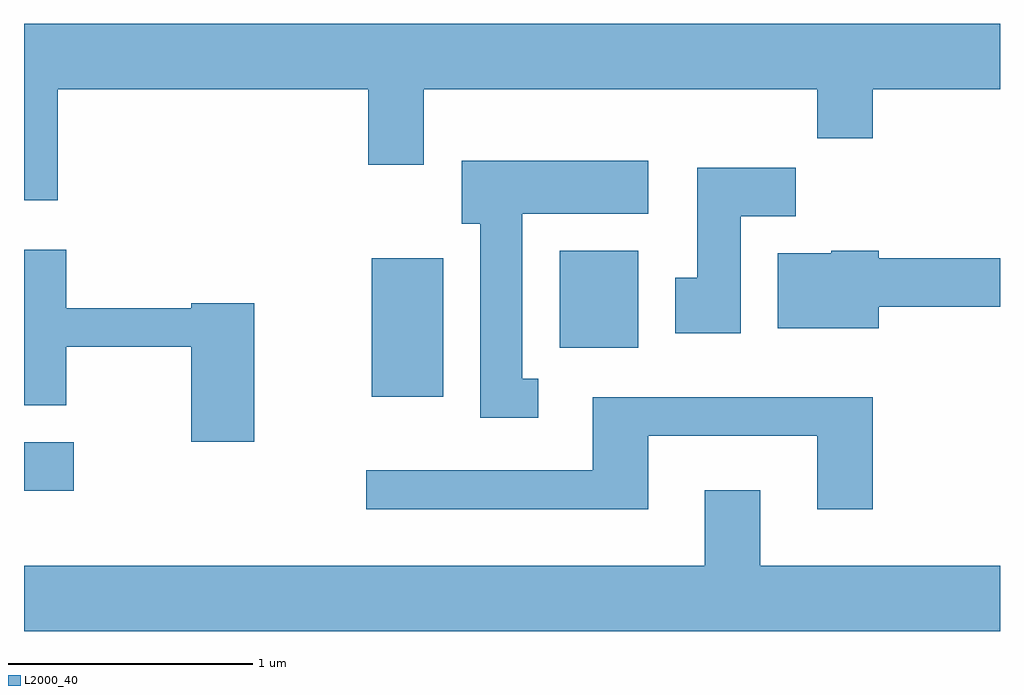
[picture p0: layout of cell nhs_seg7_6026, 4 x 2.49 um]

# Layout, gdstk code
import gdstk
lib = gdstk.Library(unit=1e-6, precision=1e-09)
def R(c, l, rs):  # rectangles x0, y0, x1, y1
    for r in rs: c.add(gdstk.rectangle(r[:2], r[2:], *l))
def P(c, l, *ps):  # polygons
    for p in ps: c.add(gdstk.Polygon(p, *l))
L2000_40 = (2000, 40)

nhs_seg7_6026 = lib.new_cell('nhs_seg7_6026')
R(nhs_seg7_6026, L2000_40, [(369.611,1697.131,369.814,1697.329), (371.036,1697.516,371.329,1698.084), (371.806,1697.716,372.129,1698.114)])
P(nhs_seg7_6026, L2000_40, [(369.749,1698.776),(371.021,1698.776),(371.021,1698.466),(371.249,1698.466),(371.249,1698.776),(372.861,1698.776),(372.861,1698.576),(373.089,1698.576),(373.089,1698.776),(373.611,1698.776),(373.611,1699.044),(369.611,1699.044),(369.611,1698.321),(369.749,1698.321)],
  [(371.718,1697.589),(371.654,1697.589),(371.654,1698.266),(372.169,1698.266),(372.169,1698.484),(371.406,1698.484),(371.406,1698.226),(371.481,1698.226),(371.481,1697.431),(371.718,1697.431)],
  [(372.549,1698.256),(372.774,1698.256),(372.774,1698.454),(372.371,1698.454),(372.371,1698.004),(372.281,1698.004),(372.281,1697.776),(372.549,1697.776)],
  [(370.554,1697.899),(370.296,1697.899),(370.296,1697.879),(369.784,1697.879),(369.784,1698.119),(369.611,1698.119),(369.611,1697.481),(369.784,1697.481),(369.784,1697.721),(370.296,1697.721),(370.296,1697.331),(370.554,1697.331)],
  [(373.114,1697.886),(373.611,1697.886),(373.611,1698.084),(373.114,1698.084),(373.114,1698.114),(372.92,1698.114),(372.92,1698.104),(372.701,1698.104),(372.701,1697.796),(373.114,1697.796)],
  [(372.169,1697.356),(372.861,1697.356),(372.861,1697.056),(373.089,1697.056),(373.089,1697.514),(371.941,1697.514),(371.941,1697.214),(371.013,1697.214),(371.013,1697.056),(372.169,1697.056)],
  [(373.611,1696.824),(372.629,1696.824),(372.629,1697.134),(372.401,1697.134),(372.401,1696.824),(369.611,1696.824),(369.611,1696.556),(373.611,1696.556)])

lib.write_gds('nhs_seg7_6026.gds')
